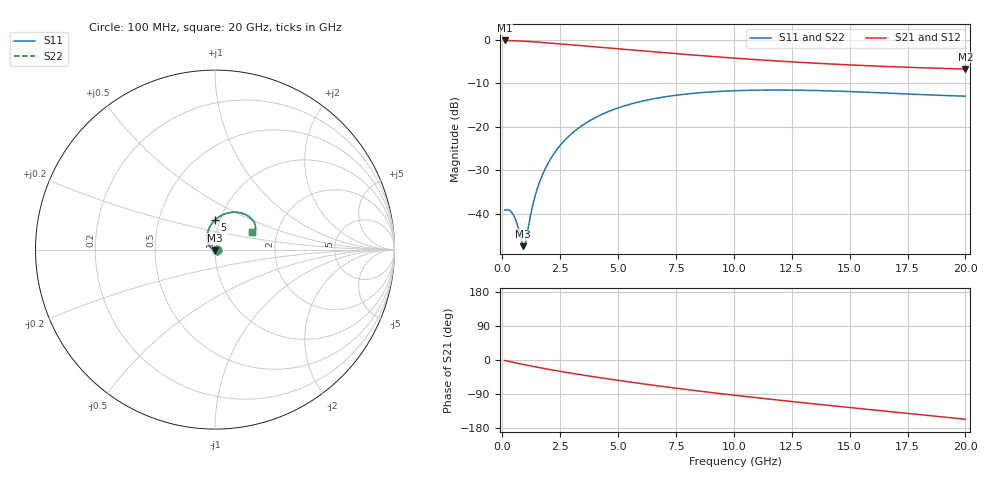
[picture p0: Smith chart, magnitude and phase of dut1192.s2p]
! Touchstone file exported from HFSS 2024.1.0
!  File:  C:/UserFiles/LocalFiles/RDL_TSV_Batchsim/temp_RDL_TSV_1192_1780128246.aedt
!  Generated:  04:19:43 PM May 30, 2026
!  Design:  RDL_TSV
!  Project:  temp_RDL_TSV_1192_1780128246
!  Setup:  Setup1
!  Solution:  Sweep
! Variables:
!  dtsv = 9.62um
!  hbump = 3um
!  htsv = 53.02um
!  ldown = 562.02um
!  lrdl = 180.57um
!  p = 40
!  p1 = 45.13um
!  rhole = 10um
!  subl = 2408.34um
!  t = 450um
!  tdown = 2.72um
!  trdl = 4.57um
!  viad = 10um
!  wdown = 28.58um
!  wrdl = 21.92um
!  xbump = 18um
# GHz S MA R 50.000000
! Terminal data exported
! Port[1] = TM1_1_T1
! Port[2] = TM1_4_T1
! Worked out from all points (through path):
!   200 points, 100 MHz to 20 GHz, reference 50 ohm
!   highest |S21| = -0.10 dB at 100 MHz (marker M1); lowest = -6.7 dB at 20 GHz (marker M2)
!   group delay of S21, straight-line fit = 20.6 ps
!   lowest |S11| = -47.4 dB at 900 MHz (marker M3), VSWR 1.01, Z = 50 - j0.425 ohm
!   |S11| at or under -10 dB: start of sweep to end of sweep
!   |S22| runs from -47.4 to -11.5 dB; largest |S21 - S12| = 1e-14
!   S11 on the Smith chart (normalised r, x): 100 MHz: 1.02, -0.00; 5 GHz: 0.95, +0.32; 20 GHz: 1.48, +0.30
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0.1  0.01107 -0.8  0.9885 -1.4  0.9885 -1.4  0.01107 -0.8
! Gamma 0 0 0 0
! Port Impedance 50 0 50 0
0.3  0.01104 -7.7  0.9855 -4.1  0.9855 -4.1  0.01104 -7.7
0.5  0.009518 -20.3  0.9813 -6.7  0.9813 -6.7  0.009517 -20.3
0.7  0.006744 -40.7  0.9762 -9.2  0.9762 -9.2  0.006743 -40.7
0.9  0.004255 -89.7  0.9702 -11.7  0.9702 -11.7  0.004254 -89.8
1  0.004624 -128.0  0.9668 -13.0  0.9668 -13.0  0.004626 -128.1
1.2  0.009059 -171.8  0.9595 -15.4  0.9595 -15.4  0.009068 -171.9
1.4  0.01549 170.4  0.9515 -17.8  0.9515 -17.8  0.01551 170.4
1.6  0.02285 159.8  0.9429 -20.1  0.9429 -20.1  0.02286 159.7
1.9  0.03497 148.4  0.9295 -23.5  0.9295 -23.5  0.03499 148.4
2.2  0.04793 139.5  0.9156 -26.8  0.9156 -26.8  0.04796 139.5
2.6  0.06588 129.6  0.897 -31.0  0.897 -31.0  0.06591 129.6
3  0.08401 121.0  0.8785 -35.1  0.8785 -35.1  0.08405 121.0
3.5  0.1062 111.7  0.8559 -39.9  0.8559 -39.9  0.1063 111.7
4.2  0.1356 100.5  0.8254 -46.5  0.8254 -46.5  0.1356 100.5
5  0.1655 89.6  0.7919 -53.7  0.7919 -53.7  0.1656 89.7
6.8  0.2171 70.2  0.7223 -68.9  0.7223 -68.9  0.2172 70.3
8.3  0.2443 57.8  0.6705 -80.5  0.6705 -80.5  0.2445 57.9
10.1  0.2615 46.2  0.617 -93.5  0.617 -93.5  0.2616 46.3
13.4  0.2631 31.9  0.5432 -115.4  0.5432 -115.4  0.2632 31.9
16.7  0.2447 25.1  0.4947 -136.0  0.4947 -136.0  0.245 25.1
20  0.226 25.4  0.4629 -156.3  0.4629 -156.3  0.2263 25.4
